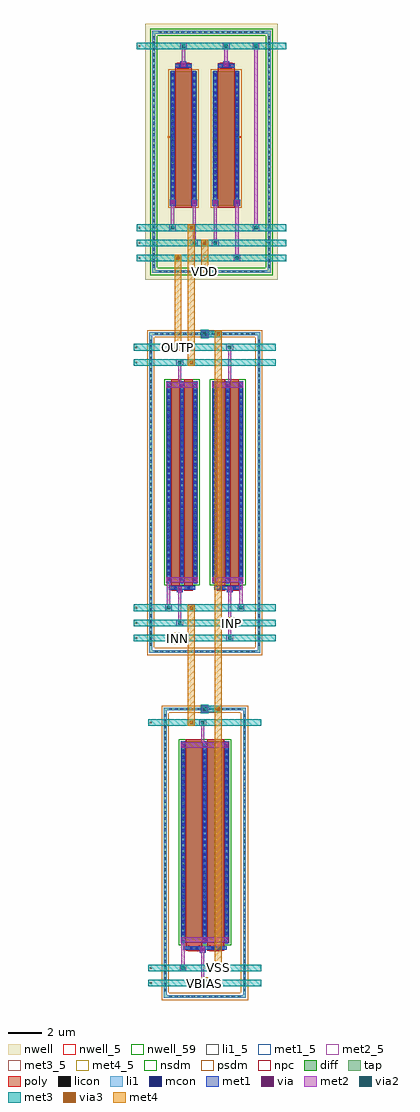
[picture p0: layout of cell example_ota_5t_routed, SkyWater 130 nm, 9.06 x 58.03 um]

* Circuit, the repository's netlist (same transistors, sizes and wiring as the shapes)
* Extracted by KLayout with SKY130 LVS runset on : 04/11/2026 05:17

.SUBCKT example_ota_5t_routed INN INP OUTP VBIAS VDD VSS sky130_gnd
M$1 \$6 \$6 VDD VDD sky130_fd_pr__pfet_01v8 L=1 W=8 AS=2.32 AD=2.32 PS=16.58
+ PD=16.58
M$2 OUTP \$6 VDD VDD sky130_fd_pr__pfet_01v8 L=1 W=8 AS=2.32 AD=2.32 PS=16.58
+ PD=16.58
M$3 \$10 INN OUTP sky130_gnd sky130_fd_pr__nfet_01v8 L=0.5 W=12 AS=3.48 AD=1.74
+ PS=24.58 PD=12.29
M$4 OUTP INN \$10 sky130_gnd sky130_fd_pr__nfet_01v8 L=0.5 W=12 AS=1.74 AD=3.48
+ PS=12.29 PD=24.58
M$5 \$10 INP \$6 sky130_gnd sky130_fd_pr__nfet_01v8 L=0.5 W=12 AS=3.48 AD=1.74
+ PS=24.58 PD=12.29
M$6 \$6 INP \$10 sky130_gnd sky130_fd_pr__nfet_01v8 L=0.5 W=12 AS=1.74 AD=3.48
+ PS=12.29 PD=24.58
M$7 \$10 VBIAS VSS sky130_gnd sky130_fd_pr__nfet_01v8 L=1 W=12 AS=3.48 AD=1.74
+ PS=24.58 PD=12.29
M$8 VSS VBIAS \$10 sky130_gnd sky130_fd_pr__nfet_01v8 L=1 W=12 AS=1.74 AD=3.48
+ PS=12.29 PD=24.58
.ENDS example_ota_5t_routed

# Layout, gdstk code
from math import pi, radians
import gdstk
lib = gdstk.Library(unit=1e-6, precision=1e-09)
def R(c, l, rs):  # rectangles x0, y0, x1, y1
    for r in rs: c.add(gdstk.rectangle(r[:2], r[2:], *l))
def A(c, l, x, y, w, h, nx, ny, dx, dy):  # array of equal rectangles
    R(c, l, [(x+i*dx, y+j*dy, x+i*dx+w, y+j*dy+h) for i in range(nx) for j in range(ny)])
nwell_5 = (64, 5)
nwell = (64, 20)
nwell_59 = (64, 59)
diff = (65, 20)
tap = (65, 44)
poly = (66, 20)
licon = (66, 44)
li1_5 = (67, 5)
li1 = (67, 20)
mcon = (67, 44)
met1_5 = (68, 5)
met1 = (68, 20)
via = (68, 44)
met2_5 = (69, 5)
met2 = (69, 20)
via2 = (69, 44)
met3_5 = (70, 5)
met3 = (70, 20)
via3 = (70, 44)
met4_5 = (71, 5)
met4 = (71, 20)
nsdm = (93, 44)
psdm = (94, 20)
npc = (95, 20)

sky130_fd_pr__nfet_01v8_ = lib.new_cell('sky130_fd_pr__nfet_01v8_9RJRPW')
R(sky130_fd_pr__nfet_01v8_, diff, [(-1.435,-6.155,1.435,5.845)])
R(sky130_fd_pr__nfet_01v8_, poly, [(-1.145,-6.285,-0.145,6.285), (0.145,-6.285,1.145,6.285)])
A(sky130_fd_pr__nfet_01v8_, licon, -1.375, -6.02, 0.17, 0.17, 3, 35, 1.29, 0.34)
R(sky130_fd_pr__nfet_01v8_, licon, [(-0.9,6.035,-0.73,6.205), (-0.56,6.035,-0.39,6.205), (0.39,6.035,0.56,6.205), (0.73,6.035,0.9,6.205)])
A(sky130_fd_pr__nfet_01v8_, li1, -1.375, -6.175, 0.17, 12.04, 3, 1, 1.29, 0)
R(sky130_fd_pr__nfet_01v8_, li1, [(-1.29,6.035,1.29,6.205)])
A(sky130_fd_pr__nfet_01v8_, mcon, -1.375, -6, 0.17, 0.17, 3, 33, 1.29, 0.36)
R(sky130_fd_pr__nfet_01v8_, mcon, [(-0.91,6.035,-0.74,6.205), (-0.55,6.035,-0.38,6.205), (0.38,6.035,0.55,6.205), (0.74,6.035,0.91,6.205)])
A(sky130_fd_pr__nfet_01v8_, met1, -1.405, -6.155, 0.23, 12, 3, 1, 1.29, 0)
R(sky130_fd_pr__nfet_01v8_, met1, [(-1.125,6.005,-0.165,6.035), (0.165,6.005,1.125,6.035), (-1.29,6.035,1.29,6.205), (-1.125,6.205,-0.165,6.235), (0.165,6.205,1.125,6.235)])
R(sky130_fd_pr__nfet_01v8_, nsdm, [(-1.56,-6.28,1.56,5.97)])
R(sky130_fd_pr__nfet_01v8_, npc, [(-1,5.935,-0.29,6.305), (0.29,5.935,1,6.305)])
sky130_fd_pr__nfet_01v8_.add(gdstk.Label('D0', (-1.29,-0.155), layer=67, texttype=5))
sky130_fd_pr__nfet_01v8_.add(gdstk.Label('G', (0.645,6.12), layer=67, texttype=5))
sky130_fd_pr__nfet_01v8_.add(gdstk.Label('G', (-0.645,6.12), layer=67, texttype=5))
sky130_fd_pr__nfet_01v8_.add(gdstk.Label('S1', (0,-0.155), layer=67, texttype=5))

nfet_01v8_w24_l1_m1__nf2 = lib.new_cell('nfet_01v8_W24_L1_m1__nf2_gtop_sdfull_outD_ng')
R(nfet_01v8_w24_l1_m1__nf2, nwell_59, [(0.05,6.08,0.15,6.18)])
R(nfet_01v8_w24_l1_m1__nf2, met1_5, [(0.145,12.29,2.725,12.52)])
R(nfet_01v8_w24_l1_m1__nf2, met1, [(0.015,0.18,0.275,0.5), (2.595,0.18,2.855,0.5), (1.305,11.76,1.565,12.08), (0.145,12.29,2.725,12.52)])
R(nfet_01v8_w24_l1_m1__nf2, via, [(0.07,0.265,0.22,0.415), (2.65,0.265,2.8,0.415), (1.36,11.845,1.51,11.995)])
R(nfet_01v8_w24_l1_m1__nf2, met2_5, [(0.01,0.18,2.86,0.5), (0.01,11.76,2.86,12.08)])
R(nfet_01v8_w24_l1_m1__nf2, met2, [(0.01,0.18,2.86,0.5), (0.01,11.76,2.86,12.08)])
nfet_01v8_w24_l1_m1__nf2.add(gdstk.Reference(sky130_fd_pr__nfet_01v8_, (1.435,6.285)))
nfet_01v8_w24_l1_m1__nf2.add(gdstk.Label('S', (1.435,11.92), layer=69, texttype=5))
nfet_01v8_w24_l1_m1__nf2.add(gdstk.Label('D', (1.435,0.34), layer=69, texttype=5))
nfet_01v8_w24_l1_m1__nf2.add(gdstk.Label('G', (1.435,12.405), layer=68, texttype=5))
nfet_01v8_w24_l1_m1__nf2.add(gdstk.Label('B', (0.1,6.13), layer=64, texttype=59))

nmos_current_mirror_bias = lib.new_cell('nmos_current_mirror_bias__A')
R(nmos_current_mirror_bias, tap, [(-0.885,-1.885,4.005,-1.715), (-0.885,-1.715,-0.715,15.205), (3.835,-1.715,4.005,15.205), (-0.885,15.205,4.005,15.375)])
A(nmos_current_mirror_bias, licon, -0.565, -1.885, 0.17, 0.17, 13, 2, 0.34, 17.09)
A(nmos_current_mirror_bias, licon, -0.885, -1.5, 0.17, 0.17, 1, 49, 0, 0.34)
A(nmos_current_mirror_bias, licon, 3.835, -1.5, 0.17, 0.17, 1, 49, 0, 0.34)
R(nmos_current_mirror_bias, li1_5, [(1.51,-1.85,1.61,-1.75)])
R(nmos_current_mirror_bias, li1, [(-0.885,-1.885,4.005,-1.715), (-0.885,-1.715,-0.715,15.205), (3.835,-1.715,4.005,15.205), (-0.885,15.205,4.005,15.375)])
R(nmos_current_mirror_bias, met1, [(1.255,12.32,1.615,12.68)])
R(nmos_current_mirror_bias, via, [(1.36,12.425,1.51,12.575)])
R(nmos_current_mirror_bias, met2, [(1.235,-1.2,1.635,-0.8), (1.335,-0.8,1.535,0.28), (0.17,11.98,0.37,13.39), (1.305,12.34,1.565,12.66), (1.335,12.66,1.535,14.29), (0.07,13.39,0.47,13.79), (1.235,14.29,1.635,14.69)])
R(nmos_current_mirror_bias, via2, [(1.335,-1.1,1.535,-0.9), (0.17,13.49,0.37,13.69), (1.335,14.39,1.535,14.59)])
R(nmos_current_mirror_bias, met3_5, [(-1.7,-1.05,-1.6,-0.95), (-1.7,13.54,-1.6,13.64), (-1.7,14.44,-1.6,14.54)])
R(nmos_current_mirror_bias, met3, [(-1.8,-1.2,4.92,-0.8), (-1.8,13.39,4.92,13.79), (-1.8,14.29,4.92,14.69)])
R(nmos_current_mirror_bias, psdm, [(-1.01,-2.01,4.13,-1.59), (-1.01,-1.59,-0.59,15.08), (3.71,-1.59,4.13,15.08), (-1.01,15.08,4.13,15.5)])
nmos_current_mirror_bias.add(gdstk.Reference(nfet_01v8_w24_l1_m1__nf2, (0.13,0)))
nmos_current_mirror_bias.add(gdstk.Label('VSS', (-1.65,13.59), layer=70, texttype=5))
nmos_current_mirror_bias.add(gdstk.Label('net2', (-1.65,14.49), layer=70, texttype=5))
nmos_current_mirror_bias.add(gdstk.Label('net1', (-1.65,-1), layer=70, texttype=5))
nmos_current_mirror_bias.add(gdstk.Label('VSS_body', (1.56,-1.8), layer=67, texttype=5))

c_sky130_fd_pr__nfet_01v8_ = lib.new_cell('sky130_fd_pr__nfet_01v8_CLRSRR')
R(c_sky130_fd_pr__nfet_01v8_, diff, [(-0.935,-6.155,0.935,5.845)])
R(c_sky130_fd_pr__nfet_01v8_, poly, [(-0.645,-6.285,-0.145,6.285), (0.145,-6.285,0.645,6.285)])
A(c_sky130_fd_pr__nfet_01v8_, licon, -0.875, -6.02, 0.17, 0.17, 3, 35, 0.79, 0.34)
R(c_sky130_fd_pr__nfet_01v8_, licon, [(-0.48,6.035,-0.31,6.205), (0.31,6.035,0.48,6.205)])
A(c_sky130_fd_pr__nfet_01v8_, li1, -0.875, -6.175, 0.17, 12.04, 3, 1, 0.79, 0)
R(c_sky130_fd_pr__nfet_01v8_, li1, [(-0.79,6.035,0.79,6.205)])
A(c_sky130_fd_pr__nfet_01v8_, mcon, -0.875, -6, 0.17, 0.17, 3, 33, 0.79, 0.36)
R(c_sky130_fd_pr__nfet_01v8_, mcon, [(-0.48,6.035,-0.31,6.205), (0.31,6.035,0.48,6.205)])
A(c_sky130_fd_pr__nfet_01v8_, met1, -0.905, -6.155, 0.23, 12, 3, 1, 0.79, 0)
R(c_sky130_fd_pr__nfet_01v8_, met1, [(-0.625,6.005,-0.165,6.035), (0.165,6.005,0.625,6.035), (-0.79,6.035,0.79,6.205), (-0.625,6.205,-0.165,6.235), (0.165,6.205,0.625,6.235)])
R(c_sky130_fd_pr__nfet_01v8_, nsdm, [(-1.06,-6.28,1.06,5.97)])
R(c_sky130_fd_pr__nfet_01v8_, npc, [(-0.58,5.935,-0.21,6.305), (0.21,5.935,0.58,6.305)])
c_sky130_fd_pr__nfet_01v8_.add(gdstk.Label('D0', (-0.79,-0.155), layer=67, texttype=5))
c_sky130_fd_pr__nfet_01v8_.add(gdstk.Label('G', (0.395,6.12), layer=67, texttype=5))
c_sky130_fd_pr__nfet_01v8_.add(gdstk.Label('G', (-0.395,6.12), layer=67, texttype=5))
c_sky130_fd_pr__nfet_01v8_.add(gdstk.Label('S1', (0,-0.155), layer=67, texttype=5))

nfet_01v8_w24_l0p5_m1__n = lib.new_cell('nfet_01v8_W24_L0p5_m1__nf2_gtop_sdfull_outS_ng')
R(nfet_01v8_w24_l0p5_m1__n, nwell_59, [(0.05,6.08,0.15,6.18)])
R(nfet_01v8_w24_l0p5_m1__n, met1_5, [(0.145,12.29,1.725,12.52)])
R(nfet_01v8_w24_l0p5_m1__n, met1, [(0.805,0.18,1.065,0.5), (0.015,11.76,0.275,12.08), (1.595,11.76,1.855,12.08), (0.145,12.29,1.725,12.52)])
R(nfet_01v8_w24_l0p5_m1__n, via, [(0.86,0.265,1.01,0.415), (0.07,11.845,0.22,11.995), (1.65,11.845,1.8,11.995)])
R(nfet_01v8_w24_l0p5_m1__n, met2_5, [(0.01,0.18,1.86,0.5), (0.01,11.76,1.86,12.08)])
R(nfet_01v8_w24_l0p5_m1__n, met2, [(0.01,0.18,1.86,0.5), (0.01,11.76,1.86,12.08)])
nfet_01v8_w24_l0p5_m1__n.add(gdstk.Reference(c_sky130_fd_pr__nfet_01v8_, (0.935,6.285)))
nfet_01v8_w24_l0p5_m1__n.add(gdstk.Label('S', (0.935,11.92), layer=69, texttype=5))
nfet_01v8_w24_l0p5_m1__n.add(gdstk.Label('D', (0.935,0.34), layer=69, texttype=5))
nfet_01v8_w24_l0p5_m1__n.add(gdstk.Label('G', (0.935,12.405), layer=68, texttype=5))
nfet_01v8_w24_l0p5_m1__n.add(gdstk.Label('B', (0.1,6.13), layer=64, texttype=59))

nmos_differential_pair__ = lib.new_cell('nmos_differential_pair__AB')
R(nmos_differential_pair__, tap, [(-0.885,-2.785,5.725,-2.615), (-0.885,-2.615,-0.715,16.105), (5.555,-2.615,5.725,16.105), (-0.885,16.105,5.725,16.275)])
A(nmos_differential_pair__, licon, -0.555, -2.785, 0.17, 0.17, 18, 2, 0.34, 18.89)
A(nmos_differential_pair__, licon, -0.885, -2.35, 0.17, 0.17, 1, 54, 0, 0.34)
A(nmos_differential_pair__, licon, 5.555, -2.35, 0.17, 0.17, 1, 54, 0, 0.34)
R(nmos_differential_pair__, li1_5, [(2.37,-2.75,2.47,-2.65)])
R(nmos_differential_pair__, li1, [(-0.885,-2.785,5.725,-2.615), (-0.885,-2.615,-0.715,16.105), (5.555,-2.615,5.725,16.105), (-0.885,16.105,5.725,16.275)])
R(nmos_differential_pair__, met1, [(0.755,12.32,1.115,12.68), (3.725,12.32,4.085,12.68)])
R(nmos_differential_pair__, via, [(0.86,12.425,1.01,12.575), (3.83,12.425,3.98,12.575)])
R(nmos_differential_pair__, met2, [(3.705,-2.1,4.105,-1.7), (3.805,-1.7,4.005,0.28), (0.735,-1.2,1.135,-0.8), (0.835,-0.8,1.035,0.28), (0.17,11.98,0.37,13.39), (4.47,11.98,4.67,13.39), (0.805,12.34,1.065,12.66), (3.775,12.34,4.035,12.66), (0.835,12.66,1.035,14.29), (3.805,12.66,4.005,15.19), (0.07,13.39,0.47,13.79), (4.37,13.39,4.77,13.79), (0.735,14.29,1.135,14.69), (3.705,15.19,4.105,15.59)])
R(nmos_differential_pair__, via2, [(3.805,-2,4.005,-1.8), (0.835,-1.1,1.035,-0.9), (0.17,13.49,0.37,13.69), (4.47,13.49,4.67,13.69), (0.835,14.39,1.035,14.59), (3.805,15.29,4.005,15.49)])
A(nmos_differential_pair__, met3_5, -1.7, 13.54, 0.1, 0.1, 1, 3, 0, 0.9)
R(nmos_differential_pair__, met3_5, [(-1.7,-1.95,-1.6,-1.85), (-1.7,-1.05,-1.6,-0.95)])
A(nmos_differential_pair__, met3, -1.8, 13.39, 8.44, 0.4, 1, 3, 0, 0.9)
R(nmos_differential_pair__, met3, [(-1.8,-2.1,6.64,-1.7), (-1.8,-1.2,6.64,-0.8)])
R(nmos_differential_pair__, psdm, [(-1.01,-2.91,5.85,-2.49), (-1.01,-2.49,-0.59,15.98), (5.43,-2.49,5.85,15.98), (-1.01,15.98,5.85,16.4)])
nmos_differential_pair__.add(gdstk.Reference(nfet_01v8_w24_l0p5_m1__n, (0.13,0)))
nmos_differential_pair__.add(gdstk.Reference(nfet_01v8_w24_l0p5_m1__n, (4.72,0), rotation=pi, x_reflection=True))
nmos_differential_pair__.add(gdstk.Label('net1', (-1.65,13.59), layer=70, texttype=5))
nmos_differential_pair__.add(gdstk.Label('INP', (-1.65,14.49), layer=70, texttype=5))
nmos_differential_pair__.add(gdstk.Label('INN', (-1.65,15.39), layer=70, texttype=5))
nmos_differential_pair__.add(gdstk.Label('net3', (-1.65,-1), layer=70, texttype=5))
nmos_differential_pair__.add(gdstk.Label('OUTP', (-1.65,-1.9), layer=70, texttype=5))
nmos_differential_pair__.add(gdstk.Label('VSS_body', (2.42,-2.7), layer=67, texttype=5))

sky130_fd_pr__pfet_01v8_ = lib.new_cell('sky130_fd_pr__pfet_01v8_6DK835')
R(sky130_fd_pr__pfet_01v8_, nwell, [(-0.97,-4.49,0.97,4.32)])
R(sky130_fd_pr__pfet_01v8_, diff, [(-0.79,-4.18,0.79,3.82)])
R(sky130_fd_pr__pfet_01v8_, poly, [(-0.5,-4.31,0.5,4.305)])
A(sky130_fd_pr__pfet_01v8_, licon, -0.73, -4.005, 0.17, 0.17, 1, 23, 0, 0.34)
A(sky130_fd_pr__pfet_01v8_, licon, 0.56, -4.005, 0.17, 0.17, 1, 23, 0, 0.34)
R(sky130_fd_pr__pfet_01v8_, licon, [(-0.255,4.055,-0.085,4.225), (0.085,4.055,0.255,4.225)])
R(sky130_fd_pr__pfet_01v8_, li1, [(-0.73,-4.2,-0.56,3.84), (0.56,-4.2,0.73,3.84), (-0.5,4.055,0.5,4.225)])
A(sky130_fd_pr__pfet_01v8_, mcon, -0.73, -4.045, 0.17, 0.17, 1, 22, 0, 0.36)
A(sky130_fd_pr__pfet_01v8_, mcon, 0.56, -4.045, 0.17, 0.17, 1, 22, 0, 0.36)
R(sky130_fd_pr__pfet_01v8_, mcon, [(-0.265,4.055,-0.095,4.225), (0.095,4.055,0.265,4.225)])
R(sky130_fd_pr__pfet_01v8_, met1, [(-0.76,-4.18,-0.53,3.82), (0.53,-4.18,0.76,3.82), (-0.48,4.025,0.48,4.255)])
R(sky130_fd_pr__pfet_01v8_, psdm, [(-0.915,-4.305,0.915,3.945)])
R(sky130_fd_pr__pfet_01v8_, npc, [(-0.355,3.955,0.355,4.325)])
sky130_fd_pr__pfet_01v8_.add(gdstk.Label('D', (-0.645,-0.18), layer=67, texttype=5))
sky130_fd_pr__pfet_01v8_.add(gdstk.Label('S', (0.645,-0.18), layer=67, texttype=5))
sky130_fd_pr__pfet_01v8_.add(gdstk.Label('G', (0,4.14), layer=67, texttype=5))

pfet_01v8_w8_l1_m1__nf1_ = lib.new_cell('pfet_01v8_W8_L1_m1__nf1_gtop_sdfull_ng')
R(pfet_01v8_w8_l1_m1__nf1_, nwell_5, [(0.05,4.355,0.15,4.455)])
R(pfet_01v8_w8_l1_m1__nf1_, nwell, [(0.05,4.355,0.15,4.455)])
R(pfet_01v8_w8_l1_m1__nf1_, met1_5, [(0.21,4.31,0.44,4.51), (1.5,4.31,1.73,4.51), (0.49,8.515,1.45,8.745)])
R(pfet_01v8_w8_l1_m1__nf1_, met1, [(0.21,4.31,0.44,4.51), (1.5,4.31,1.73,4.51), (0.49,8.515,1.45,8.745)])
pfet_01v8_w8_l1_m1__nf1_.add(gdstk.Reference(sky130_fd_pr__pfet_01v8_, (0.97,4.49)))
pfet_01v8_w8_l1_m1__nf1_.add(gdstk.Label('D', (0.325,4.41), layer=68, texttype=5))
pfet_01v8_w8_l1_m1__nf1_.add(gdstk.Label('S', (1.615,4.41), layer=68, texttype=5))
pfet_01v8_w8_l1_m1__nf1_.add(gdstk.Label('G', (0.97,8.63), layer=68, texttype=5))
pfet_01v8_w8_l1_m1__nf1_.add(gdstk.Label('B', (0.1,4.405), layer=64, texttype=5))

pmos_current_mirror_load = lib.new_cell('pmos_current_mirror_load__AB')
R(pmos_current_mirror_load, nwell, [(-1.3,-4.1,6.58,11.115)])
R(pmos_current_mirror_load, tap, [(-0.885,-3.685,6.165,-3.515), (-0.885,-3.515,-0.715,10.53), (5.995,-3.515,6.165,10.53), (-0.885,10.53,6.165,10.7)])
A(pmos_current_mirror_load, licon, -0.505, -3.685, 0.17, 0.17, 19, 2, 0.34, 14.215)
A(pmos_current_mirror_load, licon, -0.885, -3.38, 0.17, 0.17, 1, 41, 0, 0.34)
A(pmos_current_mirror_load, licon, 5.995, -3.38, 0.17, 0.17, 1, 41, 0, 0.34)
R(pmos_current_mirror_load, li1_5, [(2.59,-3.65,2.69,-3.55)])
R(pmos_current_mirror_load, li1, [(-0.885,-3.685,6.165,-3.515), (-0.885,-3.515,-0.715,10.53), (5.995,-3.515,6.165,10.53), (-0.885,10.53,6.165,10.7)])
R(pmos_current_mirror_load, met1, [(0.145,0.31,0.505,0.67), (1.435,0.31,1.795,0.67), (2.685,0.31,3.045,0.67), (3.975,0.31,4.335,0.67), (0.79,8.545,1.15,8.905), (3.33,8.545,3.69,8.905)])
R(pmos_current_mirror_load, via, [(0.25,0.415,0.4,0.565), (1.54,0.415,1.69,0.565), (2.79,0.415,2.94,0.565), (4.08,0.415,4.23,0.565), (0.895,8.65,1.045,8.8), (3.435,8.65,3.585,8.8)])
R(pmos_current_mirror_load, met2, [(3.955,-3,4.355,-2.6), (4.055,-2.6,4.255,0.33), (1.415,-2.1,1.815,-1.7), (2.665,-2.1,3.065,-1.7), (1.515,-1.7,1.715,0.33), (2.765,-1.7,2.965,0.33), (0.125,-1.2,0.525,-0.8), (5.08,-1.2,5.48,-0.8), (0.225,-0.8,0.425,0.33), (5.18,-0.8,5.38,9.615), (0.195,0.33,0.455,0.65), (1.485,0.33,1.745,0.65), (2.735,0.33,2.995,0.65), (4.025,0.33,4.285,0.65), (0.84,8.565,1.1,8.885), (3.38,8.565,3.64,8.885), (0.87,8.885,1.07,9.615), (3.41,8.885,3.61,9.615), (0.77,9.615,1.17,10.015), (3.31,9.615,3.71,10.015), (5.08,9.615,5.48,10.015)])
R(pmos_current_mirror_load, via2, [(4.055,-2.9,4.255,-2.7), (1.515,-2,1.715,-1.8), (2.765,-2,2.965,-1.8), (0.225,-1.1,0.425,-0.9), (5.18,-1.1,5.38,-0.9), (0.87,9.715,1.07,9.915), (3.41,9.715,3.61,9.915), (5.18,9.715,5.38,9.915)])
A(pmos_current_mirror_load, met3_5, -1.7, -2.85, 0.1, 0.1, 1, 3, 0, 0.9)
R(pmos_current_mirror_load, met3_5, [(-1.7,9.765,-1.6,9.865)])
A(pmos_current_mirror_load, met3, -1.8, -3, 8.88, 0.4, 1, 3, 0, 0.9)
R(pmos_current_mirror_load, met3, [(-1.8,9.615,7.08,10.015)])
R(pmos_current_mirror_load, nsdm, [(-1.01,-3.81,6.29,-3.39), (-1.01,-3.39,-0.59,10.405), (5.87,-3.39,6.29,10.405), (-1.01,10.405,6.29,10.825)])
pmos_current_mirror_load.add(gdstk.Reference(pfet_01v8_w8_l1_m1__nf1_, (0,0)))
pmos_current_mirror_load.add(gdstk.Reference(pfet_01v8_w8_l1_m1__nf1_, (4.48,0), rotation=pi, x_reflection=True))
pmos_current_mirror_load.add(gdstk.Label('net3', (-1.65,9.815), layer=70, texttype=5))
pmos_current_mirror_load.add(gdstk.Label('net3', (-1.65,-1), layer=70, texttype=5))
pmos_current_mirror_load.add(gdstk.Label('VDD', (-1.65,-1.9), layer=70, texttype=5))
pmos_current_mirror_load.add(gdstk.Label('OUTP', (-1.65,-2.8), layer=70, texttype=5))
pmos_current_mirror_load.add(gdstk.Label('VDD_body', (2.64,-3.6), layer=67, texttype=5))

example_ota_5t_routed = lib.new_cell('example_ota_5t_routed')
R(example_ota_5t_routed, li1, [(-0.25,-40.985,0.25,-40.485), (-0.25,-18.675,0.25,-18.175), (0.15,-14.965,0.65,-14.465)])
R(example_ota_5t_routed, mcon, [(-0.085,-40.82,0.085,-40.65), (-0.085,-18.51,0.085,-18.34), (0.315,-14.8,0.485,-14.63)])
R(example_ota_5t_routed, met1, [(-0.17,-40.905,0.17,-40.565), (-0.17,-18.595,0.17,-18.255), (0.23,-14.885,0.57,-14.545)])
R(example_ota_5t_routed, via, [(-0.075,-40.81,0.075,-40.66), (-0.075,-18.5,0.075,-18.35), (0.325,-14.79,0.475,-14.64)])
R(example_ota_5t_routed, met2, [(-0.2,-40.935,0.2,-40.535), (-0.2,-18.625,0.2,-18.225), (0.2,-14.915,0.6,-14.515)])
R(example_ota_5t_routed, via2, [(-0.1,-40.835,0.1,-40.635), (-0.1,-18.525,0.1,-18.325), (0.3,-14.815,0.5,-14.615)])
R(example_ota_5t_routed, met3, [(-0.2,-57.225,0.2,-56.825), (0.6,-56.325,1,-55.925), (-1,-41.735,-0.6,-41.335), (-0.25,-40.985,0.25,-40.935), (-0.25,-40.935,1,-40.535), (-0.25,-40.535,0.25,-40.485), (-1.8,-36.715,-1.4,-36.315), (1.4,-35.815,1.8,-35.415), (-1,-34.915,-0.6,-34.515), (-1,-20.325,-0.6,-19.925), (-1.8,-19.425,-1.4,-19.025), (-0.25,-18.675,0.25,-18.625), (-0.25,-18.625,1,-18.225), (-0.25,-18.225,0.25,-18.175), (0.15,-14.965,0.65,-14.915), (-0.2,-14.915,0.65,-14.515), (0.15,-14.515,0.65,-14.465), (-1.8,-14.115,-1.4,-13.715), (-0.2,-13.215,0.2,-12.815), (-1,-12.315,-0.6,-11.915)])
R(example_ota_5t_routed, via3, [(-0.1,-57.125,0.1,-56.925), (0.7,-56.225,0.9,-56.025), (-0.9,-41.635,-0.7,-41.435), (0.7,-40.835,0.9,-40.635), (-1.7,-36.615,-1.5,-36.415), (1.5,-35.715,1.7,-35.515), (-0.9,-34.815,-0.7,-34.615), (-0.9,-20.225,-0.7,-20.025), (-1.7,-19.325,-1.5,-19.125), (0.7,-18.525,0.9,-18.325), (-0.1,-14.815,0.1,-14.615), (-1.7,-14.015,-1.5,-13.815), (-0.1,-13.115,0.1,-12.915), (-0.9,-12.215,-0.7,-12.015)])
R(example_ota_5t_routed, met4_5, [(-0.05,-57.075,0.05,-56.975), (0.75,-56.175,0.85,-56.075), (-1.65,-36.565,-1.55,-36.465), (1.55,-35.665,1.65,-35.565), (-1.65,-19.275,-1.55,-19.175), (-0.05,-14.765,0.05,-14.665)])
R(example_ota_5t_routed, met4, [(-0.2,-57.375,0.2,-56.675), (0.6,-56.325,1,-18.225), (-1,-41.735,-0.6,-34.515), (-1.8,-36.865,-1.4,-36.165), (1.4,-35.965,1.8,-35.265), (-1,-20.325,-0.6,-11.915), (-1.8,-19.425,-1.4,-13.715), (-0.2,-14.915,0.2,-12.815)])
example_ota_5t_routed.add(gdstk.Reference(nmos_current_mirror_bias, (-1.56,-42.53), x_reflection=True))
example_ota_5t_routed.add(gdstk.Reference(nmos_differential_pair__, (-2.42,-21.12), x_reflection=True))
example_ota_5t_routed.add(gdstk.Reference(pmos_current_mirror_load, (-2.24,-11.115)))
example_ota_5t_routed.add(gdstk.Label('OUTP', (-1.6,-19.225), layer=71, texttype=5))
example_ota_5t_routed.add(gdstk.Label('INN', (-1.6,-36.515), layer=71, texttype=5))
example_ota_5t_routed.add(gdstk.Label('INP', (1.6,-35.615), layer=71, texttype=5))
example_ota_5t_routed.add(gdstk.Label('VBIAS', (0,-57.025), layer=71, texttype=5))
example_ota_5t_routed.add(gdstk.Label('VDD', (0,-14.715), layer=71, texttype=5))
example_ota_5t_routed.add(gdstk.Label('VSS', (0.8,-56.125), layer=71, texttype=5))

lib.write_gds('example_ota_5t_routed.gds')
